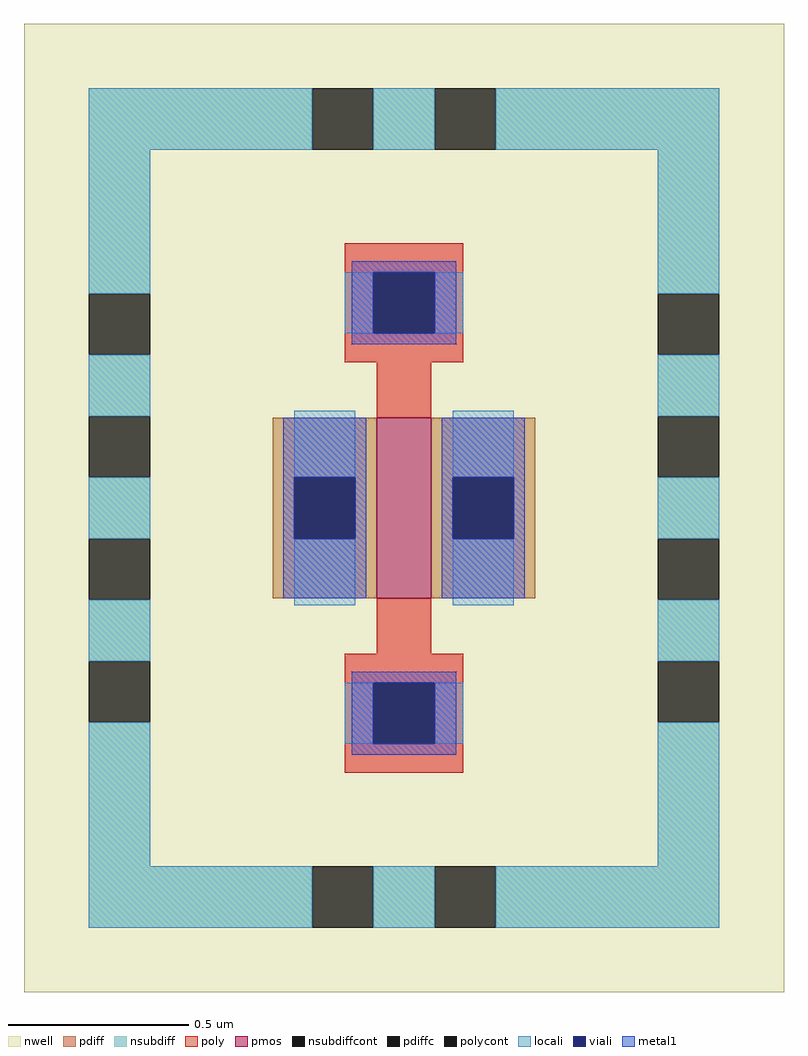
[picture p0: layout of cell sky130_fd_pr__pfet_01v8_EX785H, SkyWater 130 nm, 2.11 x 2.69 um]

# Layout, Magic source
magic
tech sky130A
magscale 1 2
<< nwell >>
rect -211 -269 211 269
<< pmos >>
rect -15 -50 15 50
<< pdiff >>
rect -73 17 -15 50
rect -73 -17 -61 17
rect -27 -17 -15 17
rect -73 -50 -15 -17
rect 15 17 73 50
rect 15 -17 27 17
rect 61 -17 73 17
rect 15 -50 73 -17
<< pdiffc >>
rect -61 -17 -27 17
rect 27 -17 61 17
<< nsubdiff >>
rect -175 199 -51 233
rect -17 199 17 233
rect 51 199 175 233
rect -175 119 -141 199
rect -175 51 -141 85
rect 141 119 175 199
rect 141 51 175 85
rect -175 -17 -141 17
rect 141 -17 175 17
rect -175 -85 -141 -51
rect -175 -199 -141 -119
rect 141 -85 175 -51
rect 141 -199 175 -119
rect -175 -233 -51 -199
rect -17 -233 17 -199
rect 51 -233 175 -199
<< nsubdiffcont >>
rect -51 199 -17 233
rect 17 199 51 233
rect -175 85 -141 119
rect 141 85 175 119
rect -175 17 -141 51
rect -175 -51 -141 -17
rect 141 17 175 51
rect 141 -51 175 -17
rect -175 -119 -141 -85
rect 141 -119 175 -85
rect -51 -233 -17 -199
rect 17 -233 51 -199
<< poly >>
rect -33 131 33 147
rect -33 97 -17 131
rect 17 97 33 131
rect -33 81 33 97
rect -15 50 15 81
rect -15 -81 15 -50
rect -33 -97 33 -81
rect -33 -131 -17 -97
rect 17 -131 33 -97
rect -33 -147 33 -131
<< polycont >>
rect -17 97 17 131
rect -17 -131 17 -97
<< locali >>
rect -175 199 -51 233
rect -17 199 17 233
rect 51 199 175 233
rect -175 119 -141 199
rect -33 97 -17 131
rect 17 97 33 131
rect 141 119 175 199
rect -175 51 -141 85
rect -175 -17 -141 17
rect -175 -85 -141 -51
rect -61 17 -27 54
rect -61 -54 -27 -17
rect 27 17 61 54
rect 27 -54 61 -17
rect 141 51 175 85
rect 141 -17 175 17
rect 141 -85 175 -51
rect -175 -199 -141 -119
rect -33 -131 -17 -97
rect 17 -131 33 -97
rect 141 -199 175 -119
rect -175 -233 -51 -199
rect -17 -233 17 -199
rect 51 -233 175 -199
<< viali >>
rect -17 97 17 131
rect -61 -17 -27 17
rect 27 -17 61 17
rect -17 -131 17 -97
<< metal1 >>
rect -29 131 29 137
rect -29 97 -17 131
rect 17 97 29 131
rect -29 91 29 97
rect -67 17 -21 50
rect -67 -17 -61 17
rect -27 -17 -21 17
rect -67 -50 -21 -17
rect 21 17 67 50
rect 21 -17 27 17
rect 61 -17 67 17
rect 21 -50 67 -17
rect -29 -97 29 -91
rect -29 -131 -17 -97
rect 17 -131 29 -97
rect -29 -137 29 -131
<< properties >>
string FIXED_BBOX -158 -216 158 216
<< end >>
